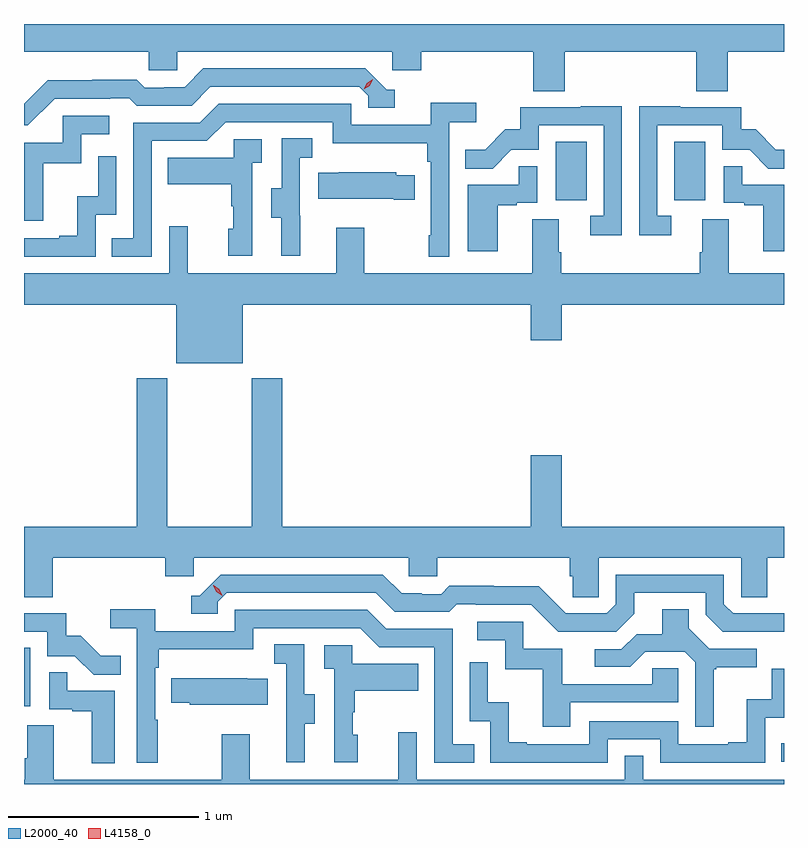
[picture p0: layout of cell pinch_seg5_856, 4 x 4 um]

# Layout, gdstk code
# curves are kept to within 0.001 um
import gdstk
lib = gdstk.Library(unit=1e-6, precision=1e-09)
def R(c, l, rs):  # rectangles x0, y0, x1, y1
    for r in rs: c.add(gdstk.rectangle(r[:2], r[2:], *l))
def P(c, l, *ps):  # polygons
    for p in ps: c.add(gdstk.Polygon(p, *l))
L2000_40 = (2000, 40)
L4158_0 = (4158, 0)

pinch_seg5_856 = lib.new_cell('pinch_seg5_856')
R(pinch_seg5_856, L2000_40, [(837.655,878.331,837.67,878.428), (833.67,878.622,833.704,878.929), (836.468,881.286,836.632,881.593), (837.092,881.286,837.256,881.593)])
P(pinch_seg5_856, L2000_40, [(836.516,882.068),(837.209,882.068),(837.209,881.86),(837.374,881.86),(837.374,882.068),(837.67,882.068),(837.67,882.213),(833.67,882.213),(833.67,882.068),(834.327,882.068),(834.327,881.97),(834.477,881.97),(834.477,882.068),(835.608,882.068),(835.608,881.97),(835.76,881.97),(835.76,882.068),(836.351,882.068),(836.351,881.86),(836.516,881.86)],
  [(833.832,881.82),(834.125,881.82),(834.125,881.823),(834.224,881.823),(834.263,881.784),(834.552,881.784),(834.651,881.883),(835.434,881.883),(835.482,881.835),(835.482,881.772),(835.621,881.772),(835.621,881.868),(835.578,881.868),(835.467,881.979),(834.614,881.979),(834.515,881.88),(834.408,881.88),(834.408,881.877),(834.305,881.877),(834.263,881.92),(834.03,881.92),(834.03,881.917),(833.794,881.917),(833.67,881.793),(833.67,881.679),(833.691,881.679)],
  [(834.342,881.598),(834.633,881.598),(834.732,881.697),(835.296,881.697),(835.296,881.585),(835.792,881.585),(835.792,881.489),(835.812,881.489),(835.812,881.101),(835.8,881.101),(835.8,880.989),(835.908,880.989),(835.908,881.696),(836.05,881.696),(836.05,881.798),(835.811,881.798),(835.811,881.682),(835.392,881.682),(835.392,881.793),(834.695,881.793),(834.596,881.694),(834.246,881.694),(834.246,881.085),(834.133,881.085),(834.133,880.989),(834.342,880.989)],
  [(836.817,881.78),(836.599,881.78),(836.599,881.775),(836.281,881.775),(836.281,881.658),(836.204,881.658),(836.097,881.551),(835.993,881.551),(835.993,881.452),(836.137,881.452),(836.235,881.55),(836.379,881.55),(836.379,881.679),(836.721,881.679),(836.721,881.205),(836.649,881.205),(836.649,881.1),(836.817,881.1)],
  [(837.076,881.205),(837.003,881.205),(837.003,881.679),(837.345,881.679),(837.345,881.55),(837.489,881.55),(837.587,881.452),(837.67,881.452),(837.67,881.551),(837.627,881.551),(837.52,881.658),(837.444,881.658),(837.444,881.775),(837.125,881.775),(837.125,881.78),(836.907,881.78),(836.907,881.1),(837.076,881.1)],
  [(833.771,881.481),(833.97,881.481),(833.97,881.634),(834.118,881.634),(834.118,881.73),(833.874,881.73),(833.874,881.589),(833.67,881.589),(833.67,881.178),(833.771,881.178)],
  [(835.124,881.205),(835.122,881.205),(835.122,881.509),(835.186,881.509),(835.186,881.612),(835.026,881.612),(835.026,881.349),(834.971,881.349),(834.971,881.194),(835.025,881.194),(835.025,880.992),(835.124,880.992)],
  [(834.87,881.483),(834.922,881.483),(834.922,881.607),(834.774,881.607),(834.774,881.509),(834.427,881.509),(834.427,881.369),(834.762,881.369),(834.762,881.255),(834.772,881.255),(834.772,881.136),(834.746,881.136),(834.746,880.992),(834.87,880.992)],
  [(834.048,881.208),(834.156,881.208),(834.156,881.518),(834.06,881.518),(834.06,881.306),(833.951,881.306),(833.951,881.098),(833.855,881.098),(833.855,881.085),(833.67,881.085),(833.67,880.989),(834.048,880.989)],
  [(837.67,881.367),(837.449,881.367),(837.449,881.465),(837.354,881.465),(837.354,881.271),(837.461,881.271),(837.461,881.259),(837.56,881.259),(837.56,881.016),(837.67,881.016)],
  [(836.164,881.259),(836.264,881.259),(836.264,881.271),(836.37,881.271),(836.37,881.465),(836.275,881.465),(836.275,881.367),(836.006,881.367),(836.006,881.016),(836.164,881.016)],
  [(835.727,881.416),(835.629,881.416),(835.629,881.434),(835.327,881.434),(835.327,881.431),(835.219,881.431),(835.219,881.294),(835.616,881.294),(835.616,881.287),(835.727,881.287)],
  [(834.82,880.736),(836.336,880.736),(836.336,880.548),(836.5,880.548),(836.5,880.736),(837.67,880.736),(837.67,880.9),(837.379,880.9),(837.379,881.186),(837.239,881.186),(837.239,881.012),(837.227,881.012),(837.227,880.9),(836.498,880.9),(836.498,881.012),(836.485,881.012),(836.485,881.186),(836.345,881.186),(836.345,880.9),(835.461,880.9),(835.461,881.14),(835.313,881.14),(835.313,880.9),(834.533,880.9),(834.533,881.149),(834.435,881.149),(834.435,880.9),(833.67,880.9),(833.67,880.736),(834.47,880.736),(834.47,880.427),(834.82,880.427)],
  [(833.822,879.404),(834.413,879.404),(834.413,879.306),(834.564,879.306),(834.564,879.404),(835.695,879.404),(835.695,879.306),(835.845,879.306),(835.845,879.404),(836.543,879.404),(836.543,879.306),(836.557,879.306),(836.557,879.196),(836.694,879.196),(836.694,879.404),(837.444,879.404),(837.444,879.196),(837.583,879.196),(837.583,879.404),(837.67,879.404),(837.67,879.568),(836.5,879.568),(836.5,879.943),(836.336,879.943),(836.336,879.568),(835.028,879.568),(835.028,880.348),(834.868,880.348),(834.868,879.568),(834.423,879.568),(834.423,880.348),(834.263,880.348),(834.263,879.568),(833.67,879.568),(833.67,879.196),(833.822,879.196)],
  [(837.67,879.111),(837.402,879.111),(837.354,879.159),(837.354,879.315),(836.784,879.315),(836.784,879.159),(836.736,879.111),(836.52,879.111),(836.378,879.253),(836.142,879.253),(836.142,879.256),(835.909,879.256),(835.867,879.213),(835.764,879.213),(835.764,879.216),(835.657,879.216),(835.558,879.315),(834.705,879.315),(834.594,879.204),(834.551,879.204),(834.551,879.108),(834.69,879.108),(834.69,879.171),(834.738,879.219),(835.521,879.219),(835.62,879.12),(835.909,879.12),(835.948,879.159),(836.047,879.159),(836.047,879.156),(836.34,879.156),(836.481,879.015),(836.787,879.015),(836.881,879.109),(836.881,879.219),(837.258,879.219),(837.258,879.105),(837.348,879.015),(837.67,879.014)],
  [(834.373,878.552),(834.36,878.552),(834.36,878.825),(834.38,878.825),(834.38,878.921),(834.876,878.921),(834.876,879.033),(835.44,879.033),(835.539,878.934),(835.83,878.934),(835.83,878.325),(836.039,878.325),(836.039,878.421),(835.926,878.421),(835.926,879.03),(835.576,879.03),(835.477,879.129),(834.78,879.129),(834.78,879.018),(834.362,879.018),(834.362,879.134),(834.123,879.134),(834.123,879.032),(834.264,879.032),(834.264,878.325),(834.373,878.325)],
  [(837.301,878.817),(837.313,878.817),(837.313,878.828),(837.526,878.828),(837.526,878.925),(837.276,878.925),(837.169,879.032),(837.169,879.134),(837.029,879.134),(837.029,879.002),(836.894,879.002),(836.814,878.922),(836.673,878.922),(836.673,878.829),(836.86,878.829),(836.941,878.91),(837.147,878.91),(837.204,878.853),(837.204,878.514),(837.301,878.514)],
  [(834.179,878.887),(834.075,878.887),(833.968,878.994),(833.892,878.994),(833.892,879.111),(833.67,879.111),(833.67,879.015),(833.793,879.015),(833.793,878.886),(833.938,878.886),(834.036,878.788),(834.179,878.788)],
  [(836.545,878.643),(837.114,878.643),(837.114,878.823),(836.977,878.823),(836.977,878.739),(836.503,878.739),(836.503,878.925),(836.298,878.925),(836.298,879.066),(836.055,879.066),(836.055,878.97),(836.202,878.97),(836.202,878.817),(836.401,878.817),(836.401,878.514),(836.545,878.514)],
  [(835.147,878.53),(835.201,878.53),(835.201,878.685),(835.146,878.685),(835.146,878.948),(834.987,878.948),(834.987,878.845),(835.05,878.845),(835.05,878.541),(835.049,878.541),(835.049,878.328),(835.147,878.328)],
  [(835.426,878.472),(835.401,878.472),(835.401,878.591),(835.411,878.591),(835.411,878.705),(835.745,878.705),(835.745,878.845),(835.398,878.845),(835.398,878.943),(835.251,878.943),(835.251,878.819),(835.302,878.819),(835.302,878.328),(835.426,878.328)],
  [(836.742,878.448),(837.018,878.448),(837.018,878.325),(837.57,878.325),(837.57,878.561),(837.67,878.561),(837.67,878.82),(837.606,878.82),(837.606,878.659),(837.473,878.659),(837.473,878.434),(837.377,878.434),(837.377,878.421),(837.114,878.421),(837.114,878.544),(836.646,878.544),(836.646,878.421),(836.317,878.421),(836.317,878.434),(836.222,878.434),(836.222,878.642),(836.112,878.642),(836.112,878.854),(836.016,878.854),(836.016,878.544),(836.124,878.544),(836.124,878.325),(836.742,878.325)],
  [(834.148,878.703),(833.897,878.703),(833.897,878.801),(833.802,878.801),(833.802,878.607),(833.923,878.607),(833.923,878.595),(834.026,878.595),(834.026,878.321),(834.148,878.321)],
  [(834.953,878.767),(834.845,878.767),(834.845,878.77),(834.445,878.77),(834.445,878.641),(834.543,878.641),(834.543,878.63),(834.953,878.63)],
  [(837.67,878.236),(836.928,878.236),(836.928,878.363),(836.832,878.363),(836.832,878.236),(835.737,878.236),(835.737,878.485),(835.64,878.485),(835.64,878.236),(834.859,878.236),(834.859,878.476),(834.712,878.476),(834.712,878.236),(833.827,878.236),(833.827,878.522),(833.687,878.522),(833.687,878.348),(833.675,878.348),(833.675,878.236),(833.67,878.236),(833.67,878.213),(837.67,878.213)])
P(pinch_seg5_856, L4158_0, [(834.713,879.204),(834.683,879.224),(834.667,879.258),(834.667,879.258),(834.668,879.258),(834.698,879.237),(834.713,879.204),(834.713,879.204)],
  [(835.458,881.869),(835.458,881.869),(835.474,881.902),(835.505,881.921),(835.505,881.921),(835.505,881.921),(835.489,881.888),(835.458,881.869)])

lib.write_gds('pinch_seg5_856.gds')
